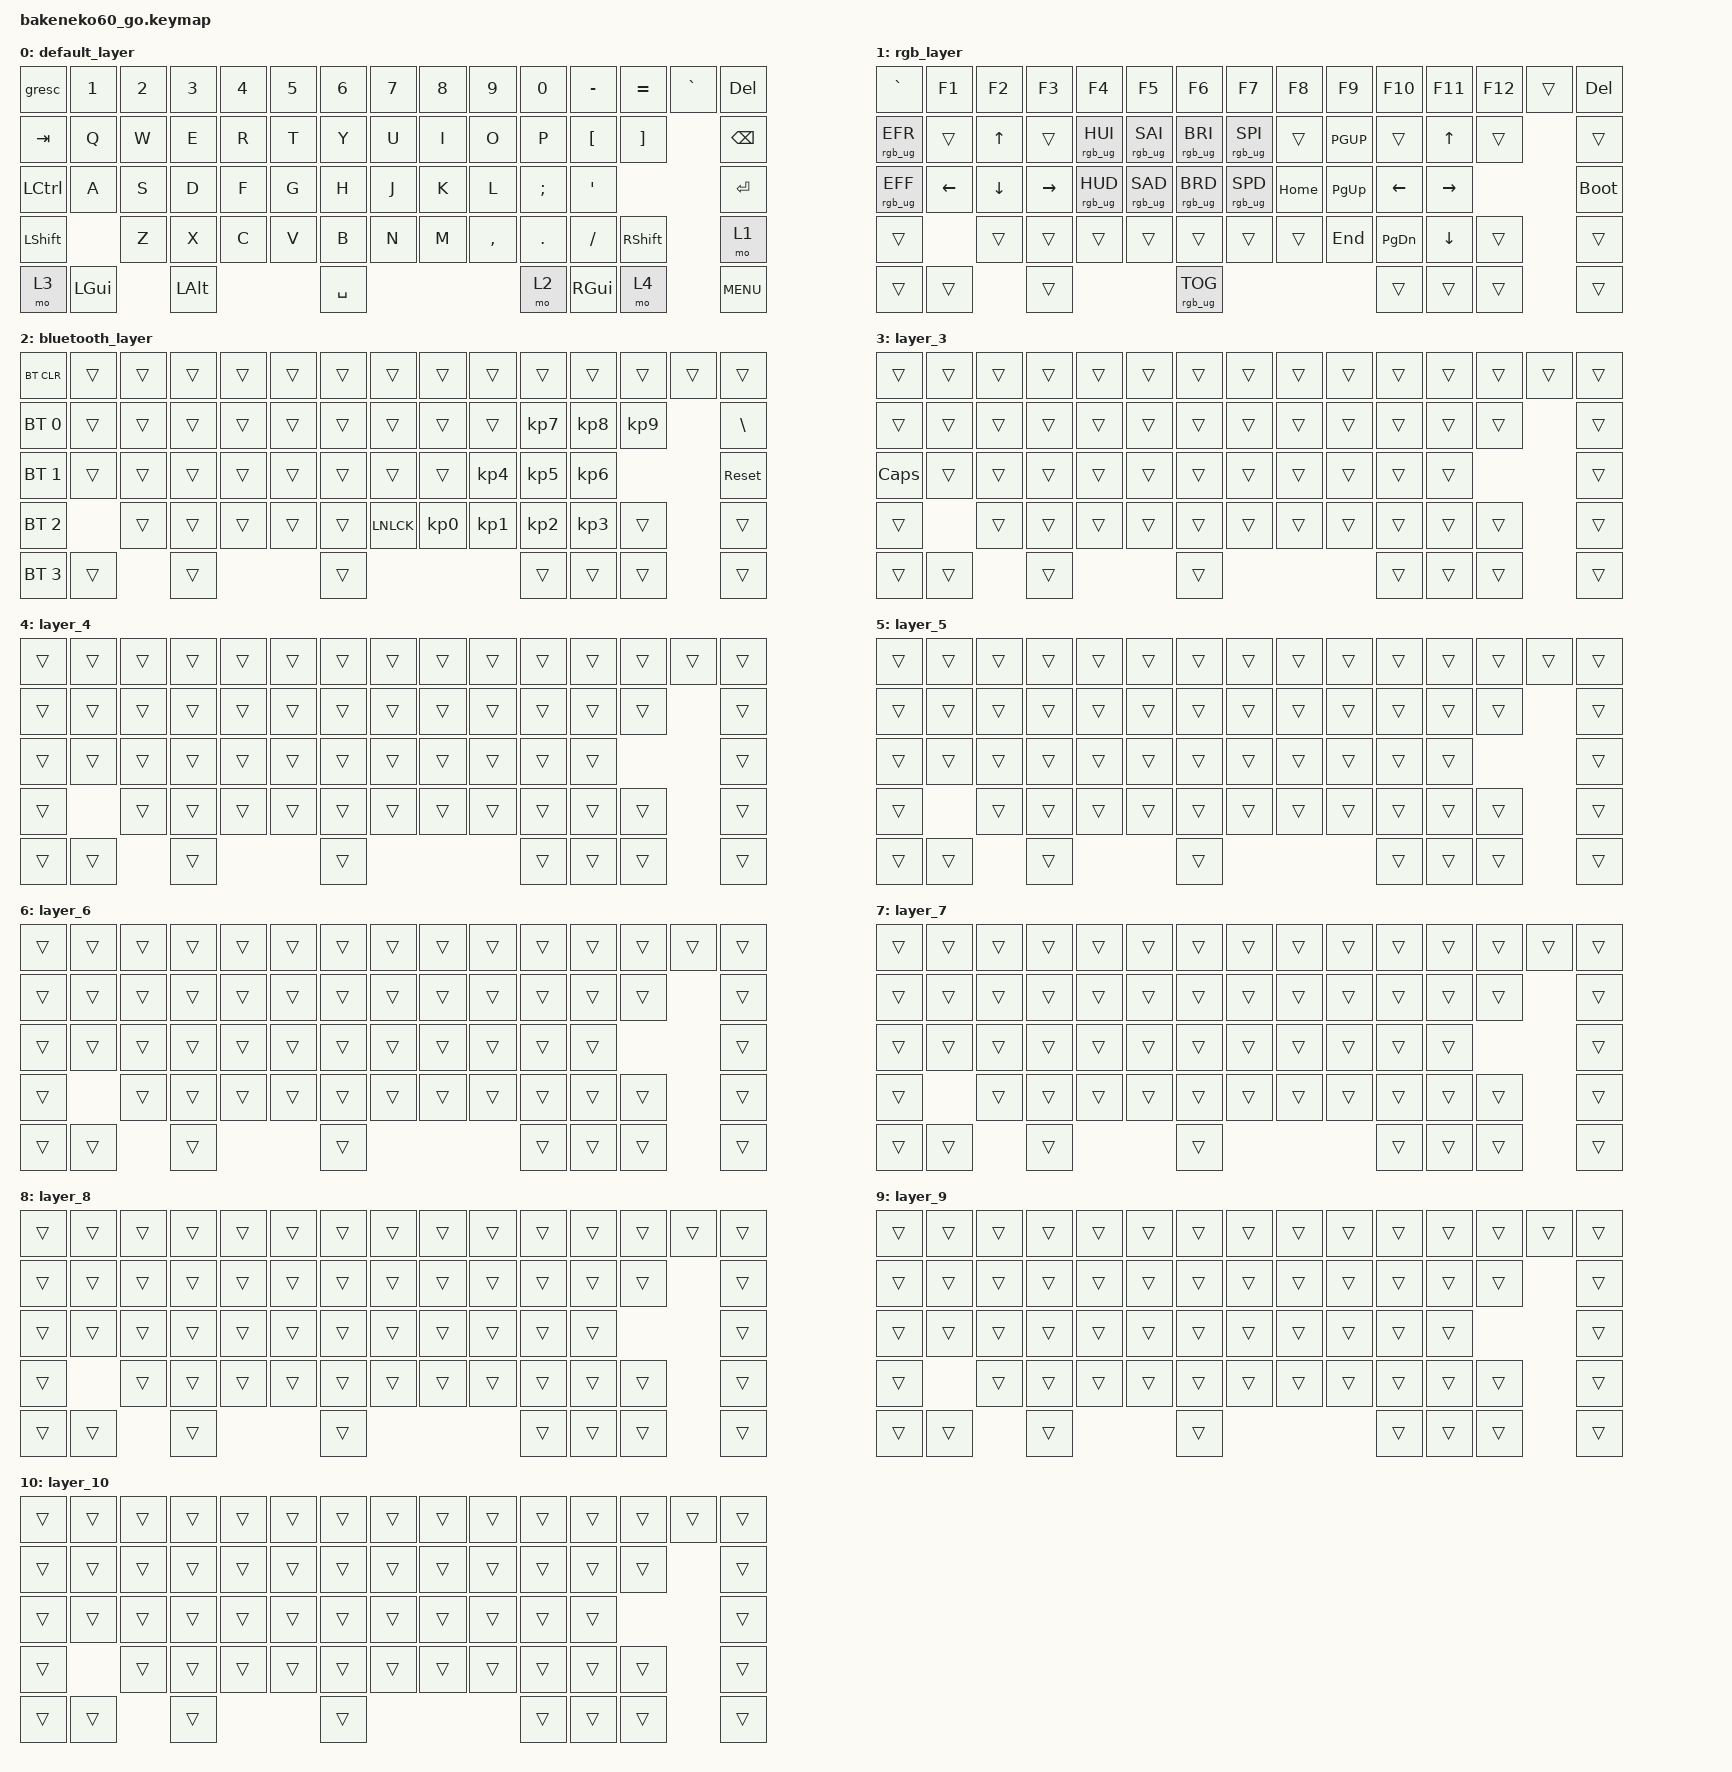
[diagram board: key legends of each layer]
/*
 * Copyright (c) 2023 Andrew Kannan
 *
 * SPDX-License-Identifier: MIT
 */

#include <behaviors.dtsi>
#include <dt-bindings/zmk/bt.h>
#include <dt-bindings/zmk/keys.h>
#include <dt-bindings/zmk/rgb.h>

/ {
    keymap {
        compatible = "zmk,keymap";

        default_layer {
            // ------------------------------------------------------------------------------------------
            // | ESC |  1  |  2  |  3  |  4  |  5  |  6  |  7  |  8  |  9  |  0  |  -  |  =  | BKSP|BKSP|
            // | TAB  |  Q  |  W  |  E  |  R  |  T  |  Y  |  U  |  I  |  O  |  P  |  [  |  ]  |   "|"   |
            // | CAPS  |  A  |  S  |  D  |  F  |  G  |  H  |  J  |  K  |  L  |  ;  |  '  |     ENTER    |
            // |  SHIFT  |  Z  |  X  |  C  |  V  |  B  |  N  |  M  |  ,  |  .  |  /  |  SHIFT  | MO(1)  |
            // |  CTL  |  WIN  |  ALT  |            SPACE              |  ALT  |  WIN  |  MO(1) |  CTL  |
            // ------------------------------------------------------------------------------------------

            bindings = <
&gresc            &kp N1    &kp N2  &kp N3    &kp N4  &kp N5  &kp N6     &kp N7  &kp N8  &kp N9     &kp N0    &kp MINUS  &kp EQUAL  &kp GRAVE  &kp DELETE
&kp TAB           &kp Q     &kp W   &kp E     &kp R   &kp T   &kp Y      &kp U   &kp I   &kp O      &kp P     &kp LBKT   &kp RBKT              &kp BACKSPACE
&kp LEFT_CONTROL  &kp A     &kp S   &kp D     &kp F   &kp G   &kp H      &kp J   &kp K   &kp L      &kp SEMI  &kp SQT                          &kp RET
&kp LSHFT                   &kp Z   &kp X     &kp C   &kp V   &kp B      &kp N   &kp M   &kp COMMA  &kp DOT   &kp FSLH   &kp RSHFT             &mo 1
&mo 3             &kp LGUI          &kp LALT                  &kp SPACE                             &mo 2     &kp RGUI   &mo 4                 &kp K_MENU
            >;
        };

        rgb_layer {
            // ------------------------------------------------------------------------------------------------
            // |    `   | F1  | F2  | F3  | F4  | F5  | F6  | F7  | F8  | F9  | F10  | F11 | F12 |     | DEL  |
            // | EFCT REV|   |  UP |   | HUEUP | SATUP | BRIUP | SPDUP |      |  PGUP |    |     |    |       |
            // | EFCT FWD | LT |  DN  | RT | HUEDN | SATDN | BRIDN | SPDDN | HOME | PGDN | END  |  | BOOTLDR  |
            // |             |     |      |      |     |     |     |     |     |     |     |         |        |
            // |         |      |      |             TOG RGB                | PRT SCR |       |       |  MO(2)|
            // ------------------------------------------------------------------------------------------------

            bindings = <
&kp GRAVE        &kp F1    &kp F2    &kp F3     &kp F4           &kp F5           &kp F6           &kp F7           &kp F8    &kp F9       &kp F10        &kp F11       &kp F12  &trans  &kp DEL
&rgb_ug RGB_EFR  &trans    &kp UP    &trans     &rgb_ug RGB_HUI  &rgb_ug RGB_SAI  &rgb_ug RGB_BRI  &rgb_ug RGB_SPI  &trans    &kp PGUP     &trans         &kp UP_ARROW  &trans           &trans
&rgb_ug RGB_EFF  &kp LEFT  &kp DOWN  &kp RIGHT  &rgb_ug RGB_HUD  &rgb_ug RGB_SAD  &rgb_ug RGB_BRD  &rgb_ug RGB_SPD  &kp HOME  &kp PAGE_UP  &kp LEFT       &kp RIGHT                      &bootloader
&trans                     &trans    &trans     &trans           &trans           &trans           &trans           &trans    &kp END      &kp PAGE_DOWN  &kp DOWN      &trans           &trans
&trans           &trans              &trans                                       &rgb_ug RGB_TOG                                          &trans         &trans        &trans           &trans
            >;
        };

        bluetooth_layer {
            // ------------------------------------------------------------------------------------------------
            // | BT CLR |     |     |     |     |     |     |     |     |     |     |    |    |       |       |
            // |  BT 1   |   |     |   |       |       |       |       |   |     |    |     |     |           |
            // |   BT 2   |    |      |    |       |       |       |       |      |      |      |  |   Reset  |
            // |    BT 3     |     |      |      |     |     |     |     |     |     |     |         |        |
            // |   BT 4  |      |      |                                    |         |       |       |       |
            // ------------------------------------------------------------------------------------------------

            bindings = <
&bt BT_CLR    &trans  &trans  &trans  &trans  &trans  &trans  &trans     &trans           &trans           &trans           &trans     &trans           &trans  &trans
&bt BT_SEL 0  &trans  &trans  &trans  &trans  &trans  &trans  &trans     &trans           &trans           &kp KP_NUMBER_7  &kp KP_N8  &kp KP_NUMBER_9          &kp BACKSLASH
&bt BT_SEL 1  &trans  &trans  &trans  &trans  &trans  &trans  &trans     &trans           &kp KP_NUMBER_4  &kp KP_NUMBER_5  &kp KP_N6                           &sys_reset
&bt BT_SEL 2          &trans  &trans  &trans  &trans  &trans  &kp LNLCK  &kp KP_NUMBER_0  &kp KP_NUMBER_1  &kp KP_NUMBER_2  &kp KP_N3  &trans                   &trans
&bt BT_SEL 3  &trans          &trans                  &trans                                               &trans           &trans     &trans                   &trans
            >;
        };

        layer_3 {
            bindings = <
&trans    &trans  &trans  &trans  &trans  &trans  &trans  &trans  &trans  &trans  &trans  &trans  &trans  &trans  &trans
&trans    &trans  &trans  &trans  &trans  &trans  &trans  &trans  &trans  &trans  &trans  &trans  &trans          &trans
&kp CAPS  &trans  &trans  &trans  &trans  &trans  &trans  &trans  &trans  &trans  &trans  &trans                  &trans
&trans            &trans  &trans  &trans  &trans  &trans  &trans  &trans  &trans  &trans  &trans  &trans          &trans
&trans    &trans          &trans                  &trans                          &trans  &trans  &trans          &trans
            >;
        };

        layer_4 {
            bindings = <
&trans  &trans  &trans  &trans  &trans  &trans  &trans  &trans  &trans  &trans  &trans  &trans  &trans  &trans  &trans
&trans  &trans  &trans  &trans  &trans  &trans  &trans  &trans  &trans  &trans  &trans  &trans  &trans          &trans
&trans  &trans  &trans  &trans  &trans  &trans  &trans  &trans  &trans  &trans  &trans  &trans                  &trans
&trans          &trans  &trans  &trans  &trans  &trans  &trans  &trans  &trans  &trans  &trans  &trans          &trans
&trans  &trans          &trans                  &trans                          &trans  &trans  &trans          &trans
            >;
        };

        layer_5 {
            bindings = <
&trans  &trans  &trans  &trans  &trans  &trans  &trans  &trans  &trans  &trans  &trans  &trans  &trans  &trans  &trans
&trans  &trans  &trans  &trans  &trans  &trans  &trans  &trans  &trans  &trans  &trans  &trans  &trans          &trans
&trans  &trans  &trans  &trans  &trans  &trans  &trans  &trans  &trans  &trans  &trans  &trans                  &trans
&trans          &trans  &trans  &trans  &trans  &trans  &trans  &trans  &trans  &trans  &trans  &trans          &trans
&trans  &trans          &trans                  &trans                          &trans  &trans  &trans          &trans
            >;
        };

        layer_6 {
            bindings = <
&trans  &trans  &trans  &trans  &trans  &trans  &trans  &trans  &trans  &trans  &trans  &trans  &trans  &trans  &trans
&trans  &trans  &trans  &trans  &trans  &trans  &trans  &trans  &trans  &trans  &trans  &trans  &trans          &trans
&trans  &trans  &trans  &trans  &trans  &trans  &trans  &trans  &trans  &trans  &trans  &trans                  &trans
&trans          &trans  &trans  &trans  &trans  &trans  &trans  &trans  &trans  &trans  &trans  &trans          &trans
&trans  &trans          &trans                  &trans                          &trans  &trans  &trans          &trans
            >;
        };

        layer_7 {
            bindings = <
&trans  &trans  &trans  &trans  &trans  &trans  &trans  &trans  &trans  &trans  &trans  &trans  &trans  &trans  &trans
&trans  &trans  &trans  &trans  &trans  &trans  &trans  &trans  &trans  &trans  &trans  &trans  &trans          &trans
&trans  &trans  &trans  &trans  &trans  &trans  &trans  &trans  &trans  &trans  &trans  &trans                  &trans
&trans          &trans  &trans  &trans  &trans  &trans  &trans  &trans  &trans  &trans  &trans  &trans          &trans
&trans  &trans          &trans                  &trans                          &trans  &trans  &trans          &trans
            >;
        };

        layer_8 {
            bindings = <
&trans  &trans  &trans  &trans  &trans  &trans  &trans  &trans  &trans  &trans  &trans  &trans  &trans  &trans  &trans
&trans  &trans  &trans  &trans  &trans  &trans  &trans  &trans  &trans  &trans  &trans  &trans  &trans          &trans
&trans  &trans  &trans  &trans  &trans  &trans  &trans  &trans  &trans  &trans  &trans  &trans                  &trans
&trans          &trans  &trans  &trans  &trans  &trans  &trans  &trans  &trans  &trans  &trans  &trans          &trans
&trans  &trans          &trans                  &trans                          &trans  &trans  &trans          &trans
            >;
        };

        layer_9 {
            bindings = <
&trans  &trans  &trans  &trans  &trans  &trans  &trans  &trans  &trans  &trans  &trans  &trans  &trans  &trans  &trans
&trans  &trans  &trans  &trans  &trans  &trans  &trans  &trans  &trans  &trans  &trans  &trans  &trans          &trans
&trans  &trans  &trans  &trans  &trans  &trans  &trans  &trans  &trans  &trans  &trans  &trans                  &trans
&trans          &trans  &trans  &trans  &trans  &trans  &trans  &trans  &trans  &trans  &trans  &trans          &trans
&trans  &trans          &trans                  &trans                          &trans  &trans  &trans          &trans
            >;
        };

        layer_10 {
            bindings = <
&trans  &trans  &trans  &trans  &trans  &trans  &trans  &trans  &trans  &trans  &trans  &trans  &trans  &trans  &trans
&trans  &trans  &trans  &trans  &trans  &trans  &trans  &trans  &trans  &trans  &trans  &trans  &trans          &trans
&trans  &trans  &trans  &trans  &trans  &trans  &trans  &trans  &trans  &trans  &trans  &trans                  &trans
&trans          &trans  &trans  &trans  &trans  &trans  &trans  &trans  &trans  &trans  &trans  &trans          &trans
&trans  &trans          &trans                  &trans                          &trans  &trans  &trans          &trans
            >;
        };
    };

    combos {
        compatible = "zmk,combos";

        combo_bt {
            timeout-ms = <50>;
            key-positions = <61 62>;
            bindings = <&mo 2>;
        };
    };
};
